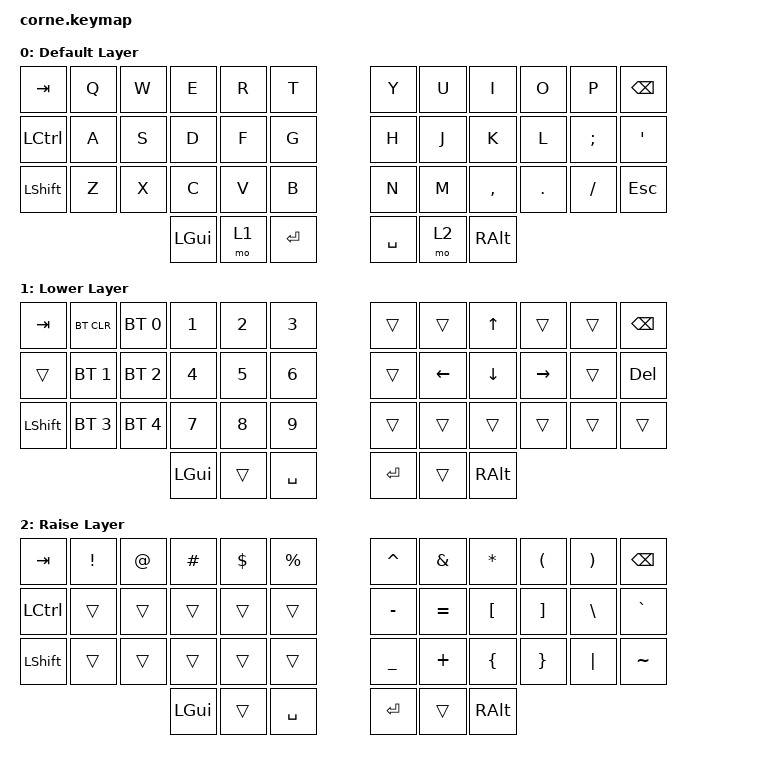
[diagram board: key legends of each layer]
/*
 * Copyright (c) 2020 The ZMK Contributors
 *
 * SPDX-License-Identifier: MIT
 */

#include <behaviors.dtsi>
#include <dt-bindings/zmk/bt.h>
#include <dt-bindings/zmk/keys.h>

/ {
    keymap {
        compatible = "zmk,keymap";

        default_layer {
            display-name = "Default Layer";

            // -----------------------------------------------------------------------------------------
            // |  TAB |  Q  |  W  |  E  |  R  |  T  |   |  Y  |  U   |  I  |  O  |  P  | BSPC |
            // | CTRL |  A  |  S  |  D  |  F  |  G  |   |  H  |  J   |  K  |  L  |  ;  |  '   |
            // | SHFT |  Z  |  X  |  C  |  V  |  B  |   |  N  |  M   |  ,  |  .  |  /  | ESC  |
            //                    | GUI | LWR | SPC |   | ENT | RSE  | ALT |

            bindings = <
&kp TAB    &kp Q  &kp W  &kp E     &kp R  &kp T        &kp Y      &kp U  &kp I      &kp O    &kp P     &kp BSPC
&kp LCTRL  &kp A  &kp S  &kp D     &kp F  &kp G        &kp H      &kp J  &kp K      &kp L    &kp SEMI  &kp SQT
&kp LSHFT  &kp Z  &kp X  &kp C     &kp V  &kp B        &kp N      &kp M  &kp COMMA  &kp DOT  &kp FSLH  &kp ESC
                         &kp LGUI  &mo 1  &kp ENTER    &kp SPACE  &mo 2  &kp RALT
            >;
        };

        lower_layer {
            display-name = "Lower Layer";

            // -----------------------------------------------------------------------------------------
            // |  TAB |  1  |  2  |  3  |  4  |  5  |   |  6  |  7  |  8  |  9  |  0  | BSPC |
            // | BTCLR| BT1 | BT2 | BT3 | BT4 | BT5 |   | LFT | DWN |  UP | RGT |     |      |
            // | SHFT |     |     |     |     |     |   |     |     |     |     |     |      |
            //                    | GUI |     | SPC |   | ENT |     | ALT |

            bindings = <
&kp TAB    &bt BT_CLR    &bt BT_SEL 0  &kp NUMBER_1  &kp NUMBER_2  &kp NUMBER_3    &trans   &trans    &kp UP_ARROW  &trans     &trans  &kp BSPC
&trans     &bt BT_SEL 1  &bt BT_SEL 2  &kp NUMBER_4  &kp N5        &kp NUMBER_6    &trans   &kp LEFT  &kp DOWN      &kp RIGHT  &trans  &kp DEL
&kp LSHFT  &bt BT_SEL 3  &bt BT_SEL 4  &kp N7        &kp N8        &kp N9          &trans   &trans    &trans        &trans     &trans  &trans
                                       &kp LGUI      &trans        &kp SPACE       &kp RET  &trans    &kp RALT
            >;
        };

        raise_layer {
            display-name = "Raise Layer";

            // -----------------------------------------------------------------------------------------
            // |  TAB |  !  |  @  |  #  |  $  |  %  |   |  ^  |  &  |  *  |  (  |  )  | BSPC |
            // | CTRL |     |     |     |     |     |   |  -  |  =  |  [  |  ]  |  \  |  `   |
            // | SHFT |     |     |     |     |     |   |  _  |  +  |  {  |  }  | "|" |  ~   |
            //                    | GUI |     | SPC |   | ENT |     | ALT |

            bindings = <
&kp TAB    &kp EXCL  &kp AT  &kp HASH  &kp DLLR  &kp PRCNT    &kp CARET  &kp AMPS   &kp ASTRK  &kp LPAR  &kp RPAR  &kp BSPC
&kp LCTRL  &trans    &trans  &trans    &trans    &trans       &kp MINUS  &kp EQUAL  &kp LBKT   &kp RBKT  &kp BSLH  &kp GRAVE
&kp LSHFT  &trans    &trans  &trans    &trans    &trans       &kp UNDER  &kp PLUS   &kp LBRC   &kp RBRC  &kp PIPE  &kp TILDE
                             &kp LGUI  &trans    &kp SPACE    &kp RET    &trans     &kp RALT
            >;
        };
    };
};
